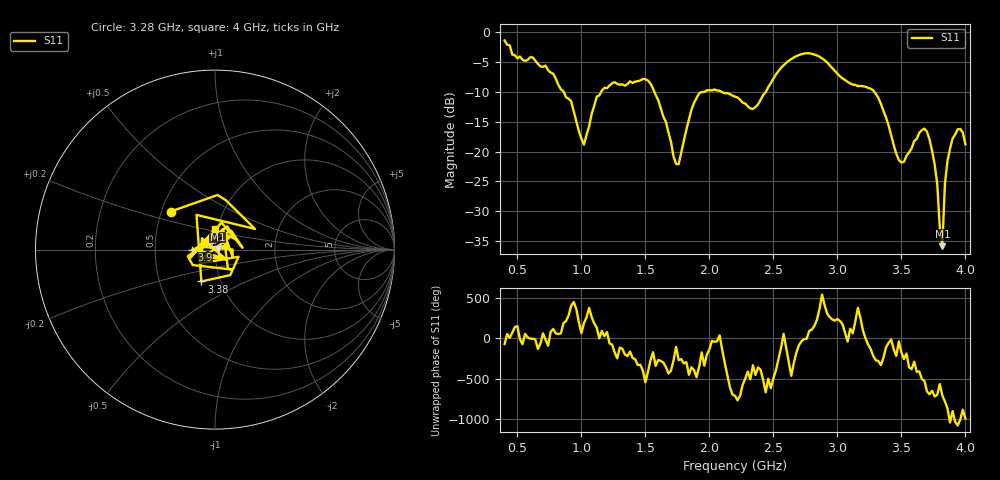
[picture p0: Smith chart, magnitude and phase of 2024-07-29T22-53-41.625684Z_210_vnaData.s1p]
!Created with skrf (http://scikit-rf.org).
# Hz S RI R 50.0
!freq ReS11 ImS11
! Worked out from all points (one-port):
!   181 points, 400 MHz to 4 GHz, reference 50 ohm
!   lowest |S11| = -35.9 dB at 3.82 GHz (marker M1), VSWR 1.03, Z = 51.6 + j0.366 ohm
!   |S11| at or under -10 dB: 1.57 GHz to 1.962 GHz (391.7 MHz wide, 22.2 % of centre); 2.096 GHz to 2.441 GHz (345.2 MHz wide, 15.2 % of centre); 3.289 GHz to end of sweep (the widest 3 of 4)
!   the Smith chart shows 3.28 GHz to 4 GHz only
!   S11 on the Smith chart (normalised r, x): 3.28 GHz: 0.56, +0.27; 3.38 GHz: 0.81, -0.30; 3.9 GHz: 0.77, -0.00; 4 GHz: 0.97, +0.23
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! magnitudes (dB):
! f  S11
! 400 MHz  -1.4
! 500 MHz  -4.4
! 720 MHz  -5.6
! 860 MHz  -9.9
! 920 MHz  -11.6
! 1.02 GHz  -18.8
! 1.12 GHz  -10.8
! 1.3 GHz  -8.8
! 1.54 GHz  -8.6
! 1.76 GHz  -22.1
! 1.86 GHz  -13.0
! 1.92 GHz  -10.2
! 2.2 GHz  -10.8
! 2.34 GHz  -12.9
! 2.66 GHz  -4.2
! 2.84 GHz  -3.9
! 3.1 GHz  -8.6
! 3.28 GHz  -9.7
! 3.38 GHz  -14.3
! 3.48 GHz  -21.4
! 3.56 GHz  -20.2
! 3.7 GHz  -16.7
! 3.76 GHz  -22.2
! 3.82 GHz  -35.9
! 3.84 GHz  -25.4
! 3.9 GHz  -17.8
! 3.96 GHz  -16.2
! 4 GHz  -18.8
